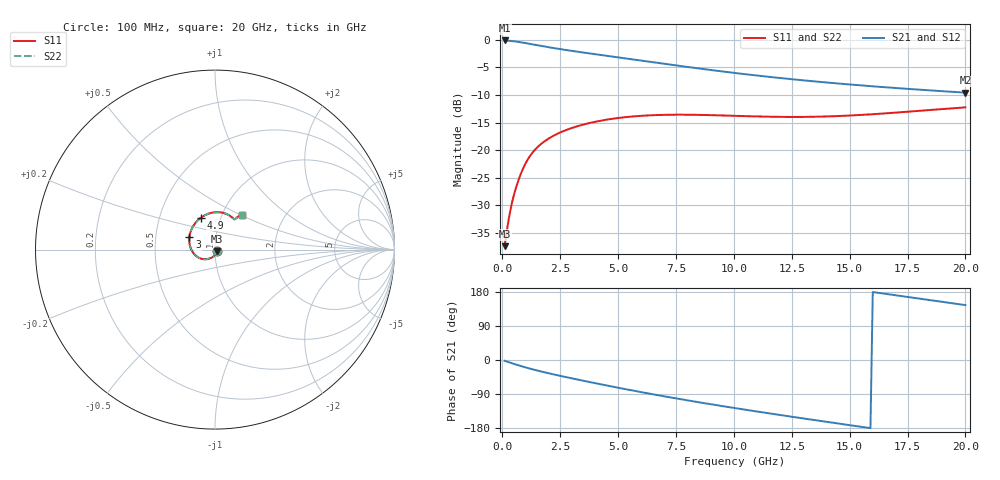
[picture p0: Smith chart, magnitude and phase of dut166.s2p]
! Touchstone file exported from HFSS 2023.1.0
!  File:  D:/Users/fzz/RDL_TSV/temp_RDL_TSV_166_1778753965.aedt
!  Generated:  6:27:24 %x4E0B%x5348  5%x6708 14, 2026
!  Design:  RDL_TSV
!  Project:  temp_RDL_TSV_166_1778753965
!  Setup:  Setup1
!  Solution:  Sweep
! Variables:
!  dtsv = 19.22um
!  hbump = 3um
!  htsv = 71.93um
!  ldown = 504.42um
!  lrdl = 346.89um
!  p = 40
!  p1 = 50.01um
!  rhole = 10um
!  subl = 2900.82um
!  t = 450um
!  tdown = 3.39um
!  trdl = 4.16um
!  viad = 10um
!  wdown = 27.24um
!  wrdl = 26.48um
!  xbump = 18um
# GHz S MA R 50.000000
! Terminal data exported
! Port[1] = TM1_1_T1
! Port[2] = TM1_4_T1
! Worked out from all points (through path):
!   200 points, 100 MHz to 20 GHz, reference 50 ohm
!   highest |S21| = -0.10 dB at 100 MHz (marker M1); lowest = -9.6 dB at 20 GHz (marker M2)
!   group delay of S21, straight-line fit = 28.3 ps
!   lowest |S11| = -37.4 dB at 100 MHz (marker M3), VSWR 1.03, Z = 51 - j0.885 ohm
!   |S11| at or under -10 dB: start of sweep to end of sweep
!   |S22| runs from -37.4 to -12.3 dB; largest |S21 - S12| = 8.3e-15
!   S11 on the Smith chart (normalised r, x): 100 MHz: 1.02, -0.02; 3 GHz: 0.74, +0.11; 4.9 GHz: 0.81, +0.30; 20 GHz: 1.24, +0.51
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0.1  0.01346 -40.1  0.9882 -2.1  0.9882 -2.1  0.01346 -40.1
! Gamma 0 0 0 0
! Port Impedance 50 0 50 0
0.3  0.02524 -81.1  0.9816 -6.3  0.9816 -6.3  0.02526 -81.3
0.4  0.03208 -92.6  0.9769 -8.3  0.9769 -8.3  0.03217 -92.9
0.5  0.03911 -102.1  0.9715 -10.3  0.9715 -10.3  0.03932 -102.3
0.7  0.05358 -117.4  0.9586 -14.1  0.9586 -14.1  0.05402 -117.4
1  0.07551 -134.9  0.936 -19.5  0.936 -19.5  0.07574 -134.5
1.3  0.09461 -148.5  0.9118 -24.5  0.9118 -24.5  0.09457 -148.3
1.8  0.1192 -168.4  0.8726 -32.1  0.8726 -32.1  0.1191 -168.3
2.3  0.1381 174.4  0.8375 -39.1  0.8375 -39.1  0.1381 174.4
3  0.1588 154.0  0.795 -48.4  0.795 -48.4  0.1587 154.0
3.5  0.1707 141.5  0.7677 -54.8  0.7677 -54.8  0.1705 141.6
4.2  0.1841 126.6  0.7322 -63.5  0.7322 -63.5  0.1839 126.6
4.9  0.1944 113.9  0.6987 -72.0  0.6987 -72.0  0.1941 113.9
5.8  0.2034 100.2  0.6576 -82.5  0.6576 -82.5  0.2031 100.3
6.8  0.2085 88.0  0.6149 -93.7  0.6149 -93.7  0.2082 88.1
8.4  0.2091 73.8  0.5537 -110.6  0.5537 -110.6  0.2088 73.8
10.1  0.2046 64.3  0.4994 -127.4  0.4994 -127.4  0.2043 64.3
11.7  0.2007 59.5  0.4577 -142.4  0.4577 -142.4  0.2004 59.4
13.4  0.2007 57.3  0.4218 -157.8  0.4218 -157.8  0.2003 57.1
15  0.206 56.5  0.3941 -171.9  0.3941 -171.9  0.2055 56.3
16.7  0.2167 55.7  0.3697 173.3  0.3697 173.3  0.2161 55.5
20  0.2444 52.3  0.3324 144.9  0.3324 144.9  0.2433 52.0
